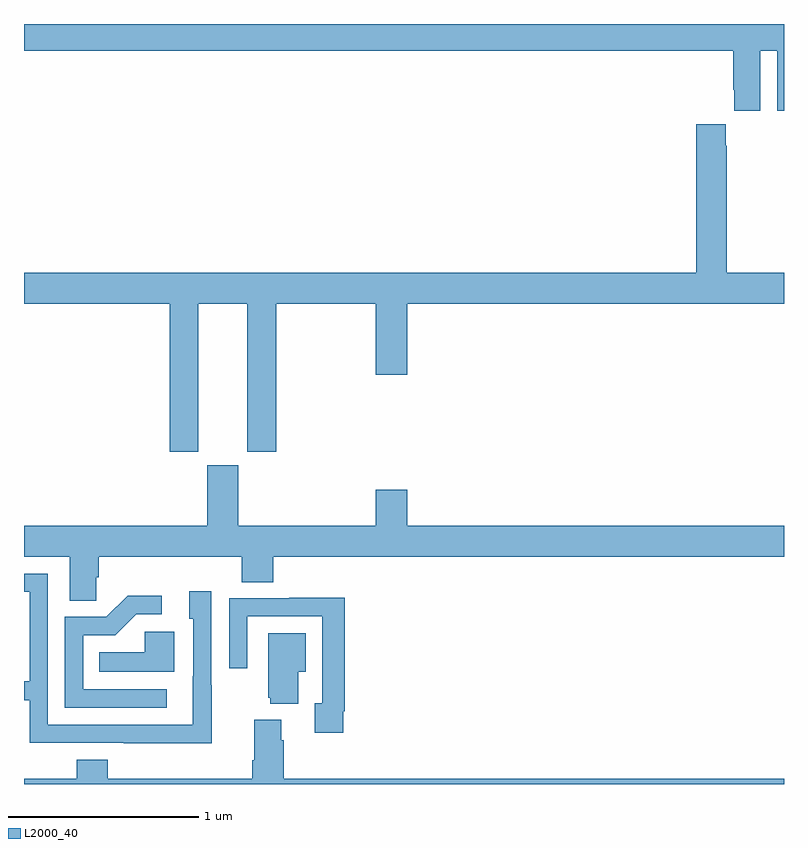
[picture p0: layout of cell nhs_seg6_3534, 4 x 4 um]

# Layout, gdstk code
import gdstk
lib = gdstk.Library(unit=1e-6, precision=1e-09)
def P(c, l, *ps):  # polygons
    for p in ps: c.add(gdstk.Polygon(p, *l))
L2000_40 = (2000, 40)

nhs_seg6_3534 = lib.new_cell('nhs_seg6_3534')
P(nhs_seg6_3534, L2000_40, [(322.876,923.36),(322.964,923.36),(322.964,923.043),(323,923.043),(323,923.5),(319,923.5),(319,923.36),(322.733,923.36),(322.733,923.155),(322.739,923.155),(322.739,923.043),(322.876,923.043)],
  [(319.918,922.028),(320.174,922.028),(320.174,921.249),(320.327,921.249),(320.327,922.028),(320.852,922.028),(320.852,921.654),(321.016,921.654),(321.016,922.028),(323,922.028),(323,922.192),(322.698,922.192),(322.698,922.859),(322.693,922.859),(322.693,922.972),(322.538,922.972),(322.538,922.192),(319,922.192),(319,922.028),(319.766,922.028),(319.766,921.249),(319.918,921.249)],
  [(319.38,920.587),(319.394,920.587),(319.394,920.696),(320.147,920.696),(320.147,920.563),(320.312,920.563),(320.312,920.696),(323,920.696),(323,920.86),(321.016,920.86),(321.016,921.049),(320.852,921.049),(320.852,920.86),(320.128,920.86),(320.128,921.177),(319.964,921.177),(319.964,920.86),(319,920.86),(319,920.696),(319.241,920.696),(319.241,920.464),(319.38,920.464)],
  [(319.989,920.021),(319.986,920.021),(319.986,920.515),(319.871,920.515),(319.871,920.37),(319.89,920.37),(319.89,920.066),(319.889,920.066),(319.889,919.812),(319.125,919.812),(319.125,920.607),(319,920.607),(319,920.511),(319.029,920.511),(319.029,920.042),(319,920.042),(319,919.941),(319.029,919.941),(319.029,919.716),(319.525,919.716),(319.525,919.715),(319.989,919.715)],
  [(319.75,919.998),(319.311,919.998),(319.311,920.283),(319.48,920.283),(319.591,920.394),(319.726,920.394),(319.726,920.492),(319.547,920.492),(319.434,920.379),(319.215,920.379),(319.215,919.902),(319.75,919.902)],
  [(320.68,919.882),(320.687,919.882),(320.687,920.48),(320.395,920.48),(320.395,920.478),(320.079,920.478),(320.079,920.109),(320.175,920.109),(320.175,920.382),(320.571,920.382),(320.571,919.926),(320.531,919.926),(320.531,919.77),(320.68,919.77)],
  [(319.792,920.302),(319.635,920.302),(319.635,920.194),(319.396,920.194),(319.396,920.09),(319.792,920.09)],
  [(320.443,920.09),(320.482,920.09),(320.482,920.293),(320.285,920.293),(320.285,919.953),(320.297,919.953),(320.297,919.922),(320.443,919.922)],
  [(323,919.528),(320.366,919.528),(320.366,919.73),(320.353,919.73),(320.353,919.837),(320.213,919.837),(320.213,919.624),(320.201,919.624),(320.201,919.528),(319.442,919.528),(319.442,919.627),(319.277,919.627),(319.277,919.528),(319,919.528),(319,919.5),(323,919.5)])

lib.write_gds('nhs_seg6_3534.gds')
